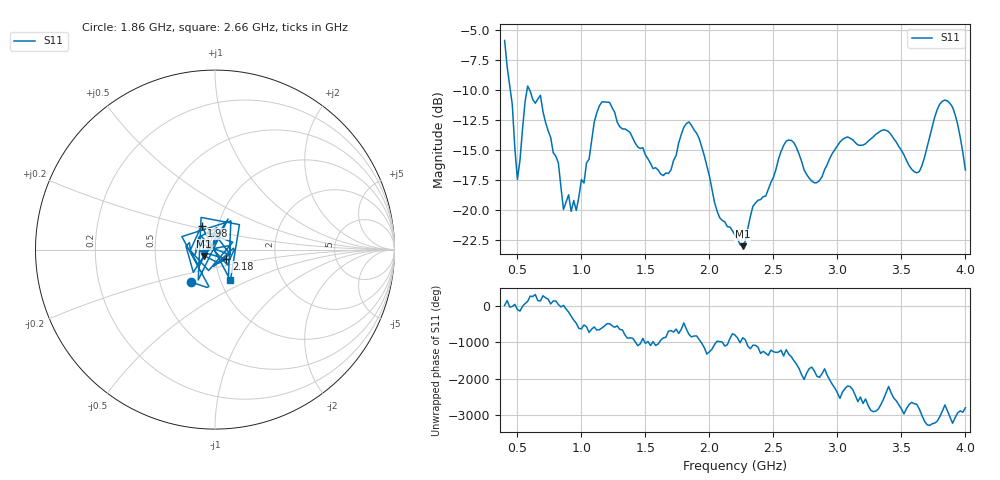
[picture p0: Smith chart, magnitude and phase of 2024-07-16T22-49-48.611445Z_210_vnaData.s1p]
!Created with skrf (http://scikit-rf.org).
# Hz S RI R 50.0
!freq ReS11 ImS11
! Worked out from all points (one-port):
!   181 points, 400 MHz to 4 GHz, reference 50 ohm
!   lowest |S11| = -23.0 dB at 2.26 GHz (marker M1), VSWR 1.15, Z = 44.2 - j3.14 ohm
!   |S11| at or under -10 dB: 444.4 MHz to 575 MHz (130.6 MHz wide, 25.6 % of centre); 595.5 MHz to end of sweep
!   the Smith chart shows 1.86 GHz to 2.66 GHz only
!   S11 on the Smith chart (normalised r, x): 1.86 GHz: 0.72, -0.27; 1.98 GHz: 0.83, +0.23; 2.18 GHz: 1.13, -0.12; 2.66 GHz: 1.12, -0.39
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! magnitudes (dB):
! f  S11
! 400 MHz  -5.9
! 460 MHz  -11.2
! 500 MHz  -17.5
! 580 MHz  -9.7
! 680 MHz  -10.4
! 820 MHz  -16.1
! 860 MHz  -20.0
! 960 MHz  -20.1
! 1.16 GHz  -11.0
! 1.3 GHz  -13.1
! 1.64 GHz  -17.1
! 1.76 GHz  -14.4
! 1.86 GHz  -13.0
! 1.98 GHz  -16.3
! 2.08 GHz  -20.7
! 2.18 GHz  -21.8
! 2.2 GHz  -22.1
! 2.26 GHz  -23.0
! 2.34 GHz  -19.7
! 2.66 GHz  -14.4
! 2.82 GHz  -17.8
! 3.1 GHz  -14.0
! 3.38 GHz  -13.4
! 3.56 GHz  -16.3
! 3.64 GHz  -16.8
! 3.84 GHz  -10.8
! 3.92 GHz  -12.1
! 4 GHz  -16.7
